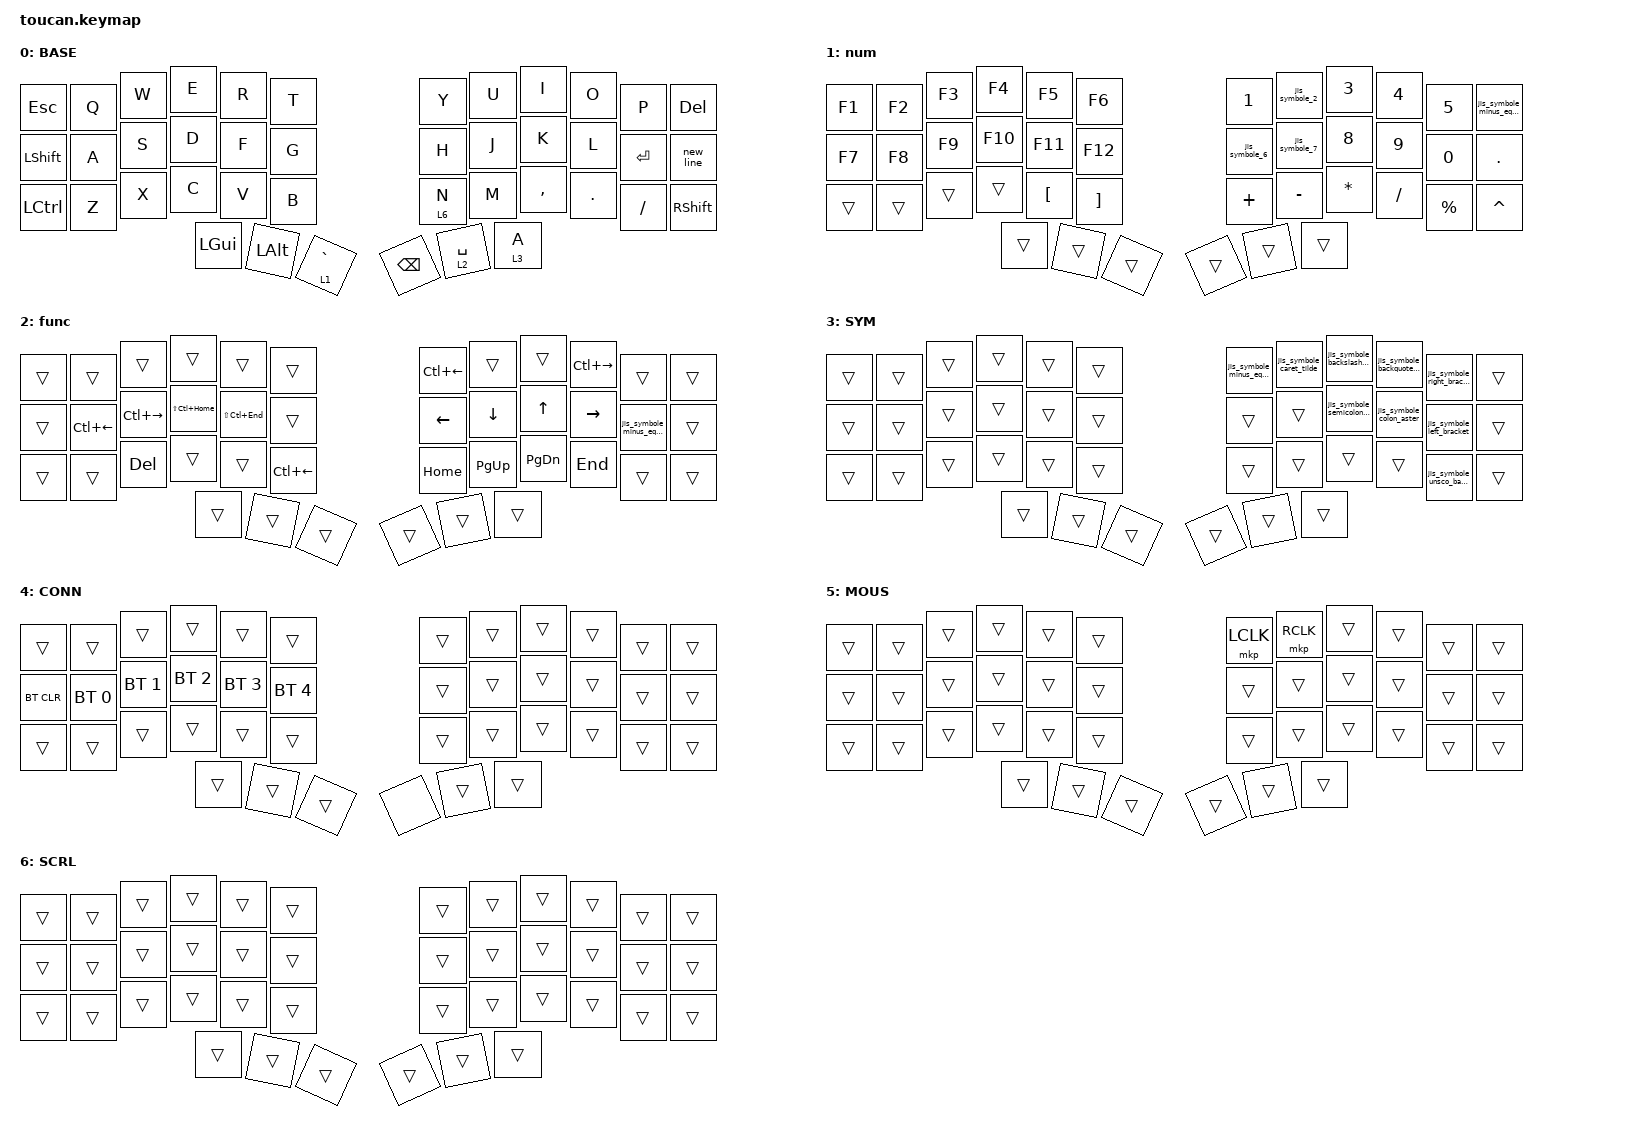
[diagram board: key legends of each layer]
#include <behaviors.dtsi>
#include <dt-bindings/zmk/bt.h>
#include <dt-bindings/zmk/keys.h>
#include <dt-bindings/zmk/pointing.h>

// OS設定を日本語キーボードのまま使用するための変換定義

#define JP_DQUOTE       AT                // "
#define JP_AMPERSAND    CARET             // &
#define JP_QUOTE        AMPERSAND         // '
#define JP_EQUAL        UNDER             // =
#define JP_CARET        EQUAL             // ^
#define JP_YEN          0x89              // ¥
#define JP_PLUS         COLON             // +
#define JP_TILDE        PLUS              // ~
#define JP_PIPE         LS(0x89)          // |
#define JP_AT           LEFT_BRACKET      // @
#define JP_COLON        SINGLE_QUOTE      // :
#define JP_ASTERISK     DOUBLE_QUOTES     // *
#define JP_BACKQUOTE    LEFT_BRACE        // `
#define JP_UNDERSCORE   LS(0x87)          // _
#define JP_LBRACKET     RIGHT_BRACKET     // [
#define JP_RBRACKET     BACKSLASH         // ]
#define JP_LPAREN       ASTERISK          // (
#define JP_RPAREN       LEFT_PARENTHESIS  // )
#define JP_LBRACE       RIGHT_BRACE       // {
#define JP_RBRACE       PIPE              // }
#define JP_KANA         LANGUAGE_1        // かな
#define JP_EISU         LANGUAGE_2        // 英数
#define JP_HANZEN       GRAVE             // 半角/全角

/ {
    conditional_layers {
        compatible = "zmk,conditional-layers";

        conn {
            if-layers = <2 3>;
            then-layer = <4>;
        };
    };

    combos {
        compatible = "zmk,combos";

        tab {
            bindings = <&kp TAB>;
            key-positions = <2 3>;
        };

        minus-equal-conb {
            bindings = <&jis_symbole_minus_equal>;
            key-positions = <9 8>;
        };

        lang2 {
            bindings = <&kp LANGUAGE_2>;
            key-positions = <15 16>;
        };

        lang1 {
            bindings = <&kp LANGUAGE_1>;
            key-positions = <19 20>;
        };

        CapsLock {
            bindings = <&kp CAPSLOCK>;
            key-positions = <13 14 15>;
        };
    };

    behaviors {
        // jis number

        jis_symbole_2: jis_symbole_2 {
            compatible = "zmk,behavior-mod-morph";
            label = "JIS_SYMBOLE_2";
            bindings = <&kp N2>, <&kp JP_DQUOTE>;

            #binding-cells = <0>;
            mods = <(MOD_LSFT)>;
        };

        jis_symbole_6: jis_symbole_6 {
            compatible = "zmk,behavior-mod-morph";
            label = "JIS_SYMBOLE_6";
            bindings = <&kp N6>, <&kp JP_AMPERSAND>;

            #binding-cells = <0>;
            mods = <(MOD_LSFT)>;
        };

        jis_symbole_7: jis_symbole_7 {
            compatible = "zmk,behavior-mod-morph";
            label = "JIS_SYMBOLE_7";
            bindings = <&kp N7>, <&kp JP_QUOTE>;

            #binding-cells = <0>;
            mods = <(MOD_LSFT)>;
        };

        // jis symbole

        jis_symbole_minus_equal: jis_symbole_minus_equal {
            compatible = "zmk,behavior-mod-morph";
            label = "JIS_SYMBOLE_MINUS_EQUAL";
            bindings = <&kp MINUS>, <&kp JP_EQUAL>;

            #binding-cells = <0>;
            mods = <(MOD_LSFT)>;
        };

        jis_symbole_caret_tilde: jis_symbole_caret_tilde {
            compatible = "zmk,behavior-mod-morph";
            label = "JIS_SYMBOLE_CARET_TILDE";
            bindings = <&kp JP_CARET>, <&kp JP_TILDE>;

            #binding-cells = <0>;
            mods = <(MOD_LSFT)>;
        };

        jis_symbole_backslash_pipe: jis_symbole_backslash_pipe {
            compatible = "zmk,behavior-mod-morph";
            label = "JIS_SYMBOLE_BACKSLASH_PIPE";
            bindings = <&kp NON_US_BACKSLASH>, <&kp JP_PIPE>;

            #binding-cells = <0>;
            mods = <(MOD_LSFT)>;
        };

        jis_symbole_backquote_AT: jis_symbole_backquote_AT {
            compatible = "zmk,behavior-mod-morph";
            label = "JIS_SYMBOLE_BACKQUOTE_AT";
            bindings = <&kp JP_AT>, <&kp JP_BACKQUOTE>;

            #binding-cells = <0>;
            mods = <(MOD_LSFT)>;
        };

        jis_symbole_right_bracket: jis_symbole_right_bracket {
            compatible = "zmk,behavior-mod-morph";
            label = "JIS_SYMBOLE_RIGHT_BRACKET";
            bindings = <&kp JP_LBRACKET>, <&kp JP_LBRACE>;

            #binding-cells = <0>;
            mods = <(MOD_LSFT)>;
        };

        jis_symbole_semicolon_plus: jis_symbole_semicolon_plus {
            compatible = "zmk,behavior-mod-morph";
            label = "JIS_SYMBOLE_SEMICOLON_PLUS";
            bindings = <&kp SEMI>, <&kp JP_PLUS>;

            #binding-cells = <0>;
            mods = <(MOD_LSFT)>;
        };

        jis_symbole_colon_aster: jis_symbole_colon_aster {
            compatible = "zmk,behavior-mod-morph";
            label = "JIS_SYMBOLE_COLON_ASTER";
            bindings = <&kp JP_COLON>, <&kp JP_ASTERISK>;

            #binding-cells = <0>;
            mods = <(MOD_LSFT)>;
        };

        jis_symbole_left_bracket: jis_symbole_left_bracket {
            compatible = "zmk,behavior-mod-morph";
            label = "JIS_SYMBOLE_LEFT_BRACKET";
            bindings = <&kp JP_RBRACKET>, <&kp JP_RBRACE>;

            #binding-cells = <0>;
            mods = <(MOD_LSFT)>;
        };

        jis_symbole_unsco_backslash: jis_symbole_unsco_backslash {
            compatible = "zmk,behavior-mod-morph";
            label = "JIS_SYMBOLE_UNSCO_BACKSLASH";
            bindings = <&kp JP_UNDERSCORE>, <&kp JP_BACKQUOTE>;

            #binding-cells = <0>;
            mods = <(MOD_LSFT)>;
        };
    };

    macros {
        cut_to_end: cut_to_end {
            compatible = "zmk,behavior-macro";
            #binding-cells = <0>;
            bindings = <&kp LS(END) &kp LC(X)>;
            label = "CUT_TO_END";
        };

        new_line: new_line {
            compatible = "zmk,behavior-macro";
            #binding-cells = <0>;
            bindings = <&kp LC(END) &kp ENTER>;
            label = "NEW_LINE";
        };
    };

    keymap {
        compatible = "zmk,keymap";

        base {
            display-name = "BASE";
            bindings = <
&kp ESC  &kp Q  &kp W  &kp E  &kp R  &kp T  &kp Y  &kp U  &kp I  &kp O  &kp P  &kp DELETE  &kp LEFT_SHIFT  &kp A  &kp S  &kp D  &kp F  &kp G  &kp H  &kp J  &kp K  &kp L  &kp ENTER  &new_line  &kp LCTRL  &kp Z  &kp X  &kp C  &kp V  &kp B  &lt 6 N  &kp M  &kp COMMA  &kp DOT  &kp SLASH  &kp RIGHT_SHIFT  &kp LGUI  &kp LEFT_ALT  &lt 1 JP_HANZEN  &kp BACKSPACE  &lt 2 SPACE  &lt 3 A
            >;
        };

        num {
            display-name = "num";
            bindings = <
&kp F1  &kp F2  &kp F3  &kp F4  &kp F5  &kp F6  &kp N1  &jis_symbole_2  &kp N3  &kp N4  &kp N5  &jis_symbole_minus_equal  &kp F7  &kp F8  &kp F9  &kp F10  &kp F11  &kp F12  &jis_symbole_6  &jis_symbole_7  &kp N8  &kp N9  &kp N0  &kp PERIOD  &trans  &trans  &trans  &trans  &kp LEFT_BRACKET  &kp RIGHT_BRACKET  &kp PLUS  &kp MINUS  &kp STAR  &kp SLASH  &kp PERCENT  &kp CARET  &trans  &trans  &trans  &trans  &trans  &trans
            >;
        };

        func {
            display-name = "func";
            bindings = <
&trans  &trans  &trans  &trans  &trans  &trans  &kp LC(LEFT_ARROW)  &trans  &trans  &kp LC(RIGHT_ARROW)  &trans  &trans  &trans  &kp LC(LEFT_ARROW)  &kp LC(RIGHT_ARROW)  &kp LS(LC(HOME))  &kp LS(LC(END))  &trans  &kp LEFT  &kp DOWN  &kp UP  &kp RIGHT  &jis_symbole_minus_equal  &trans  &trans  &trans  &kp DELETE  &trans  &trans  &kp LC(LEFT_ARROW)  &kp HOME  &kp PG_UP  &kp PG_DN  &kp END  &trans  &trans  &trans  &trans  &trans  &trans  &trans  &trans
            >;
        };

        sym {
            display-name = "SYM";
            bindings = <
&trans  &trans  &trans  &trans  &trans  &trans  &jis_symbole_minus_equal  &jis_symbole_caret_tilde  &jis_symbole_backslash_pipe  &jis_symbole_backquote_AT  &jis_symbole_right_bracket  &trans  &trans  &trans  &trans  &trans  &trans  &trans  &trans  &trans  &jis_symbole_semicolon_plus  &jis_symbole_colon_aster  &jis_symbole_left_bracket  &trans  &trans  &trans  &trans  &trans  &trans  &trans  &trans  &trans  &trans  &trans  &jis_symbole_unsco_backslash  &trans  &trans  &trans  &trans  &trans  &trans  &trans
            >;
        };

        connect {
            display-name = "CONN";
            bindings = <
&trans  &trans  &trans  &trans  &trans  &trans  &trans  &trans  &trans  &trans  &trans  &trans  &bt BT_CLR  &bt BT_SEL 0  &bt BT_SEL 1  &bt BT_SEL 2  &bt BT_SEL 3  &bt BT_SEL 4  &trans  &trans  &trans  &trans  &trans  &trans  &trans  &trans  &trans  &trans  &trans  &trans  &trans  &trans  &trans  &trans  &trans  &trans  &trans  &trans  &trans  &none  &trans  &trans
            >;
        };

        mouse {
            display-name = "MOUS";
            bindings = <
&trans  &trans  &trans  &trans  &trans  &trans  &mkp LCLK  &mkp RCLK  &trans  &trans  &trans  &trans  &trans  &trans  &trans  &trans  &trans  &trans  &trans  &trans  &trans  &trans  &trans  &trans  &trans  &trans  &trans  &trans  &trans  &trans  &trans  &trans  &trans  &trans  &trans  &trans  &trans  &trans  &trans  &trans  &trans  &trans
            >;
        };

        scroll {
            bindings = <
&trans  &trans  &trans  &trans  &trans  &trans  &trans  &trans  &trans  &trans  &trans  &trans  &trans  &trans  &trans  &trans  &trans  &trans  &trans  &trans  &trans  &trans  &trans  &trans  &trans  &trans  &trans  &trans  &trans  &trans  &trans  &trans  &trans  &trans  &trans  &trans  &trans  &trans  &trans  &trans  &trans  &trans
            >;

            label = "SCRL";
        };
    };
};
